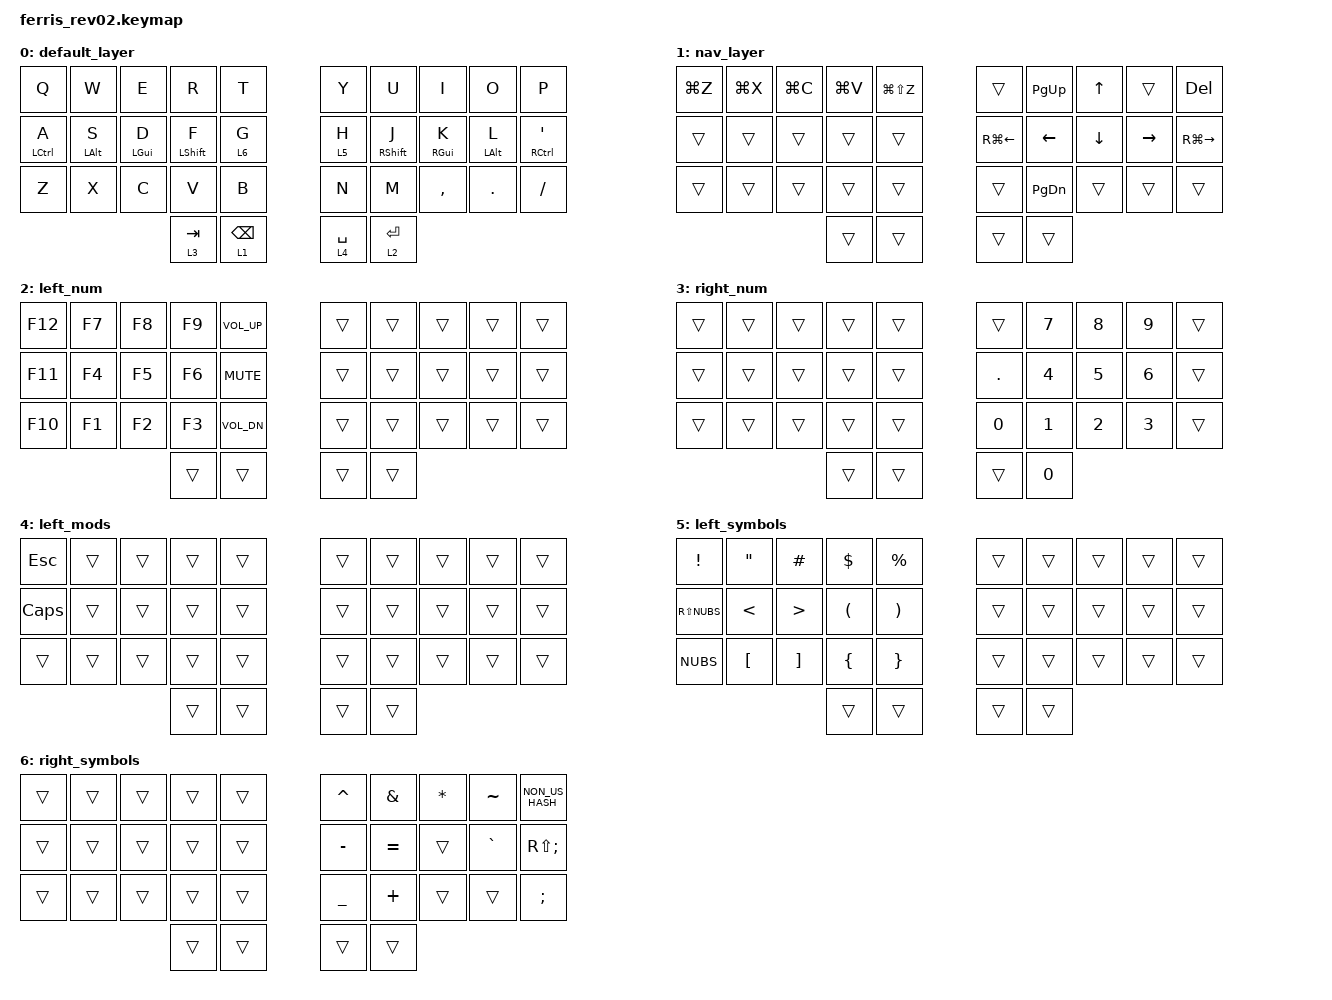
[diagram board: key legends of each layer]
/*
 * Copyright (c) 2020 The ZMK Contributors
 *
 * SPDX-License-Identifier: MIT
 */

#undef ZMK_BEHAVIORS_KEEP_ALL

#include <behaviors.dtsi>
#include <dt-bindings/zmk/keys.h>

#define NAV_L 1
#define OTHER_L 2
#define NUM_L 3
#define SYM_L 4

// Using layer taps on thumbs, having quick tap as well helps w/ repeating space/backspace

&lt { quick-tap-ms = <200>; };

/ {
    behaviors {
        hm: homerow_mods {
            compatible = "zmk,behavior-hold-tap";
            #binding-cells = <2>;
            tapping-term-ms = <200>;
            flavor = "tap-preferred";
            bindings = <&kp>, <&kp>;
        };
    };

    keymap {
        compatible = "zmk,keymap";

        default_layer {
            bindings = <
&kp Q               &kp W       &kp E           &kp R        &kp T              &kp Y        &kp U        &kp I            &kp O       &kp P
&hm LEFT_CONTROL A  &hm LALT S  &hm LEFT_GUI D  &hm LSHFT F  &lt 6 G            &lt 5 H      &hm RSHFT J  &hm RIGHT_GUI K  &hm LALT L  &hm RIGHT_CONTROL APOSTROPHE
&kp Z               &kp X       &kp C           &kp V        &kp B              &kp N        &kp M        &kp COMMA        &kp DOT     &kp FSLH
                                                &lt 3 TAB    &lt 1 BACKSPACE    &lt 4 SPACE  &lt 2 ENTER
            >;
        };

        nav_layer {
            bindings = <
&kp LG(Z)  &kp LG(X)  &kp LG(C)  &kp LG(V)  &kp LG(LS(Z))    &trans              &kp PAGE_UP    &kp UP    &trans     &kp DELETE
&trans     &trans     &trans     &trans     &trans           &kp RG(LEFT_ARROW)  &kp LEFT       &kp DOWN  &kp RIGHT  &kp RG(RIGHT_ARROW)
&trans     &trans     &trans     &trans     &trans           &trans              &kp PAGE_DOWN  &trans    &trans     &trans
                                 &trans     &trans           &trans              &trans
            >;
        };

        left_num {
            bindings = <
&kp F12  &kp F7  &kp F8  &kp F9  &kp C_VOLUME_UP    &trans  &trans  &trans  &trans  &trans
&kp F11  &kp F4  &kp F5  &kp F6  &kp K_MUTE         &trans  &trans  &trans  &trans  &trans
&kp F10  &kp F1  &kp F2  &kp F3  &kp C_VOL_DN       &trans  &trans  &trans  &trans  &trans
                         &trans  &trans             &trans  &trans
            >;
        };

        right_num {
            bindings = <
&trans  &trans  &trans  &trans  &trans    &trans   &kp N7  &kp N8  &kp N9  &trans
&trans  &trans  &trans  &trans  &trans    &kp DOT  &kp N4  &kp N5  &kp N6  &trans
&trans  &trans  &trans  &trans  &trans    &kp N0   &kp N1  &kp N2  &kp N3  &trans
                        &trans  &trans    &trans   &kp N0
            >;
        };

        left_mods {
            bindings = <
&kp ESC   &trans  &trans  &trans  &trans    &trans  &trans  &trans  &trans  &trans
&kp CAPS  &trans  &trans  &trans  &trans    &trans  &trans  &trans  &trans  &trans
&trans    &trans  &trans  &trans  &trans    &trans  &trans  &trans  &trans  &trans
                          &trans  &trans    &trans  &trans
            >;
        };

        left_symbols {
            bindings = <
&kp EXCLAMATION  &kp DOUBLE_QUOTES  &kp HASH           &kp DOLLAR            &kp PERCENT              &trans  &trans  &trans  &trans  &trans
&kp RS(NUBS)     &kp LESS_THAN      &kp GREATER_THAN   &kp LEFT_PARENTHESIS  &kp RIGHT_PARENTHESIS    &trans  &trans  &trans  &trans  &trans
&kp NUBS         &kp LEFT_BRACKET   &kp RIGHT_BRACKET  &kp LEFT_BRACE        &kp RIGHT_BRACE          &trans  &trans  &trans  &trans  &trans
                                                       &trans                &trans                   &trans  &trans
            >;
        };

        right_symbols {
            bindings = <
&trans  &trans  &trans  &trans  &trans    &kp CARET  &kp AMPERSAND  &kp ASTERISK  &kp TILDE  &kp NON_US_HASH
&trans  &trans  &trans  &trans  &trans    &kp MINUS  &kp EQUAL      &trans        &kp GRAVE  &kp RS(SEMICOLON)
&trans  &trans  &trans  &trans  &trans    &kp UNDER  &kp PLUS       &trans        &trans     &kp SEMICOLON
                        &trans  &trans    &trans     &trans
            >;
        };
    };
};
